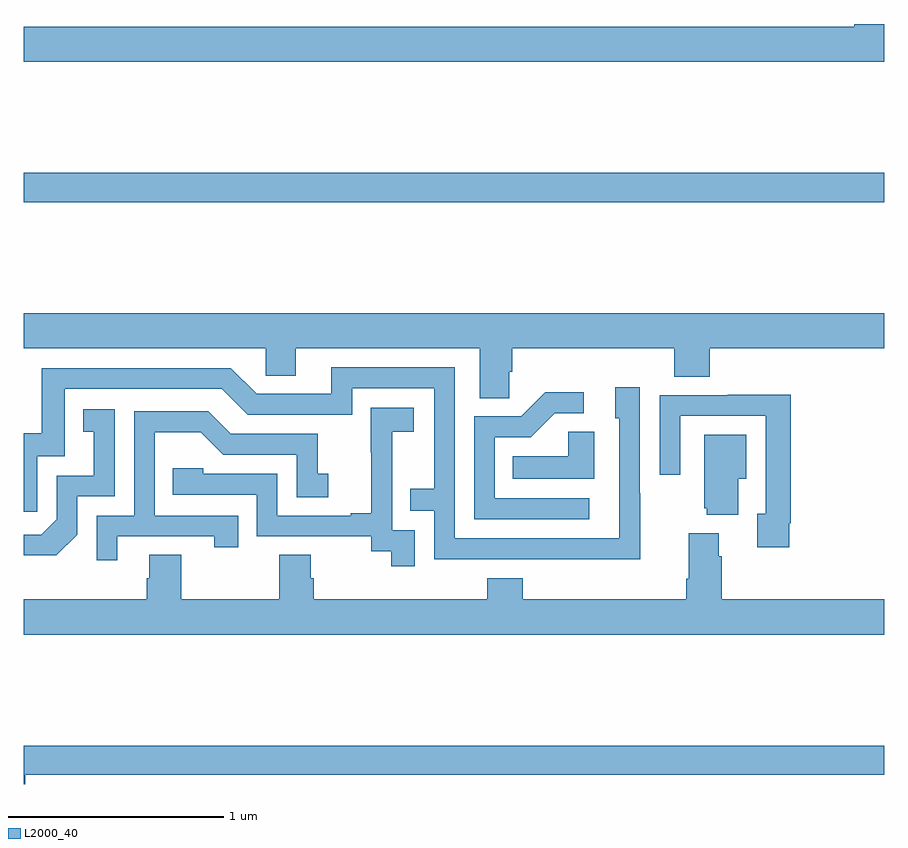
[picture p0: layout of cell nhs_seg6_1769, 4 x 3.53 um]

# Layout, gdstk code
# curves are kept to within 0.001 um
import gdstk
lib = gdstk.Library(unit=1e-6, precision=1e-09)
def R(c, l, rs):  # rectangles x0, y0, x1, y1
    for r in rs: c.add(gdstk.rectangle(r[:2], r[2:], *l))
def P(c, l, *ps):  # polygons
    for p in ps: c.add(gdstk.Polygon(p, *l))
L2000_40 = (2000, 40)

nhs_seg6_1769 = lib.new_cell('nhs_seg6_1769')
R(nhs_seg6_1769, L2000_40, [(217,958.672,221,958.808)])
P(nhs_seg6_1769, L2000_40, [(221,959.5),(220.862,959.5),(220.862,959.488),(217,959.488),(217,959.324),(221,959.324)],
  [(219.258,957.883),(219.272,957.883),(219.272,957.992),(220.025,957.992),(220.025,957.859),(220.19,957.859),(220.19,957.992),(221,957.992),(221,958.156),(217,958.156),(217,957.992),(218.124,957.992),(218.124,957.865),(218.263,957.865),(218.263,957.992),(219.119,957.992),(219.119,957.76),(219.258,957.76)],
  [(219.867,957.317),(219.864,957.317),(219.864,957.811),(219.749,957.811),(219.749,957.666),(219.768,957.666),(219.768,957.108),(219.003,957.108),(219.003,957.903),(218.429,957.903),(218.429,957.78),(218.082,957.78),(217.962,957.9),(217.083,957.9),(217.083,957.598),(217,957.598),(217,957.231),(217.062,957.231),(217.062,957.489),(217.191,957.489),(217.191,957.804),(217.92,957.804),(218.04,957.684),(218.526,957.684),(218.526,957.807),(218.907,957.807),(218.907,957.338),(218.797,957.338),(218.797,957.237),(218.907,957.237),(218.907,957.012),(219.867,957.011)],
  [(219.628,957.294),(219.189,957.294),(219.189,957.579),(219.358,957.579),(219.469,957.69),(219.604,957.69),(219.604,957.788),(219.425,957.788),(219.312,957.675),(219.093,957.675),(219.093,957.198),(219.628,957.198)],
  [(220.558,957.178),(220.565,957.178),(220.565,957.776),(220.273,957.776),(220.273,957.774),(219.957,957.774),(219.957,957.405),(220.053,957.405),(220.053,957.678),(220.449,957.678),(220.449,957.222),(220.409,957.222),(220.409,957.066),(220.558,957.066)],
  [(218.817,957.147),(218.712,957.147),(218.712,957.377),(218.714,957.377),(218.714,957.605),(218.812,957.605),(218.812,957.715),(218.614,957.715),(218.614,957.509),(218.615,957.509),(218.615,957.226),(218.519,957.226),(218.519,957.213),(218.178,957.213),(218.178,957.408),(217.833,957.408),(217.833,957.435),(217.693,957.435),(217.693,957.312),(218.082,957.312),(218.082,957.117),(218.616,957.117),(218.616,957.049),(218.709,957.049),(218.709,956.979),(218.817,956.979)],
  [(217.248,957.126),(217.248,957.303),(217.422,957.303),(217.422,957.709),(217.276,957.709),(217.276,957.603),(217.325,957.603),(217.325,957.399),(217.152,957.399),(217.152,957.198),(217.08,957.126),(217,957.126),(217,957.029),(217.15,957.029)],
  [(217.435,957.117),(217.886,957.117),(217.886,957.066),(217.997,957.066),(217.997,957.213),(217.608,957.213),(217.608,957.602),(217.822,957.602),(217.926,957.498),(218.268,957.498),(218.268,957.3),(218.416,957.3),(218.416,957.409),(218.367,957.409),(218.367,957.594),(217.963,957.594),(217.858,957.699),(217.512,957.699),(217.512,957.213),(217.338,957.213),(217.338,957.006),(217.435,957.006)],
  [(219.652,957.605),(219.531,957.605),(219.531,957.49),(219.274,957.49),(219.274,957.386),(219.652,957.386)],
  [(220.321,957.386),(220.36,957.386),(220.36,957.589),(220.163,957.589),(220.163,957.249),(220.175,957.249),(220.175,957.218),(220.321,957.218)],
  [(221,956.824),(220.244,956.824),(220.244,957.026),(220.231,957.026),(220.231,957.133),(220.091,957.133),(220.091,956.92),(220.079,956.92),(220.079,956.824),(219.32,956.824),(219.32,956.923),(219.155,956.923),(219.155,956.824),(218.348,956.824),(218.348,956.922),(218.335,956.922),(218.335,957.032),(218.188,957.032),(218.188,956.824),(217.731,956.824),(217.731,957.032),(217.583,957.032),(217.583,956.922),(217.571,956.922),(217.571,956.824),(217,956.824),(217,956.66),(221,956.66)],
  [(217.006,956.008),(221,956.008),(221,956.144),(217,956.144),(217,955.966),(217.006,955.966)])

lib.write_gds('nhs_seg6_1769.gds')
